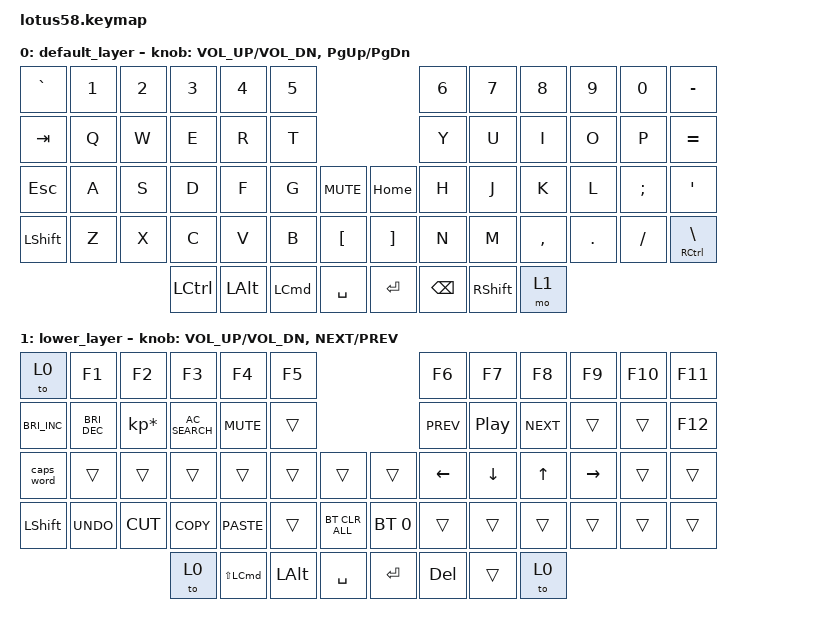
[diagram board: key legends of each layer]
/*
 * Copyright (c) 2022 The ZMK Contributors
 *
 * SPDX-License-Identifier: MIT
 */

#include <behaviors.dtsi>
#include <dt-bindings/zmk/bt.h>
#include <dt-bindings/zmk/keys.h>

/ {
    combos {
        compatible = "zmk,combos";

        combo_dsklg {
            timeout-ms = <100>;
            key-positions = <24 52>;
            layers = <1>;
            bindings = <&kp LGUI>;
        };
    };

    behaviors {
        fofunc: four_ffour {
            compatible = "zmk,behavior-mod-morph";
            #binding-cells = <0>;
            bindings = <&kp N4>, <&kp F4>;

            mods = <(MOD_LALT|MOD_RALT)>;
        };

        sleft: s_left {
            compatible = "zmk,behavior-mod-morph";
            #binding-cells = <0>;
            bindings = <&kp S>, <&kp LEFT>;

            mods = <(MOD_LGUI|MOD_RGUI)>;
        };

        fright: f_right {
            compatible = "zmk,behavior-mod-morph";
            #binding-cells = <0>;
            bindings = <&kp F>, <&kp RIGHT>;

            mods = <(MOD_LGUI|MOD_RGUI)>;
        }; 
    };

    keymap {
        compatible = "zmk,keymap";

        default_layer {
            //   ------------------------------------------------------------------------------------------------------------
            //  0|  ESC  |  1  |  2  |  3   |  4   |  5   |                     |  6   |  7    |  8    |  9   |   0   |   =   | 11
            // 12|  TAB  |  Q  |  W  |  E   |  R   |  T   |                     |  Y   |  U    |  I    |  O   |   P   |   [   | 23
            // 24|  SFT  |  A  |  S  |  D   |  F   |  G   |  RESET  |  | RESET  |  H   |  J    |  K    |  L   |   ;   | ' SFT | 37
            // 38|  CTRL |  Z  |  X  |  C   |  V   |  B   |  MUTE   |  | PLAY   |  N   |  M    |  ,    |  .   |   /   | \ CTRL| 51
            // 52                    |ENT RS|  ALT | SPACE|DELETE LW|  |ENTER RS| BSPC |  ] LW | RGUI  |                        59

            bindings = <
&kp GRAVE       &kp N1  &kp N2  &kp N3            &kp NUMBER_4  &kp N5                                                 &kp N6         &kp N7           &kp N8     &kp N9   &kp N0    &kp MINUS
&kp TAB         &kp Q   &kp W   &kp E             &kp R         &kp T                                                  &kp Y          &kp U            &kp I      &kp O    &kp P     &kp EQUAL
&kp ESCAPE      &kp A   &kp S   &kp D             &kp F         &kp G             &kp C_MUTE        &kp HOME           &kp H          &kp J            &kp K      &kp L    &kp SEMI  &kp SQT
&kp LEFT_SHIFT  &kp Z   &kp X   &kp C             &kp V         &kp B             &kp LEFT_BRACKET  &kp RIGHT_BRACKET  &kp N          &kp M            &kp COMMA  &kp DOT  &kp FSLH  &mt RCTRL BSLH
                                &kp LEFT_CONTROL  &kp LEFT_ALT  &kp LEFT_COMMAND  &kp SPACE         &kp ENTER          &kp BACKSPACE  &kp RIGHT_SHIFT  &mo 1
            >;

            sensor-bindings =
                <&inc_dec_kp C_VOL_UP C_VOL_DN>,
                <&inc_dec_kp PG_UP PG_DN>;
        };

        lower_layer {
            // ------------------------------------------------------------------------------------------------------------
            // | `     |  F1 |  F2 |  F3  |  F4  |  F5  |                   |  F6  |  F7   |  F8   |  F9  |  F10  |  F11  |
            // |       |  !  | HOME|   ^  |  END |  %   |                   | VOL^ |  PGUP |  INS  |  ^   |  PSCR |   -   |
            // |       |  #  |  <- |   v  | ->   |  $   |        |  |       | VOLv |    <- |   ^   |  ->  |   ~   |   _   |
            // |       |  @  |  -  |  (   |  )   |  &   |        |  |       | MUTE |  PGDN |   v   |  :   |   *   |   |   |
            //                     |  F11 |      |      |        |  |       |      |       |  F12  |

            bindings = <
&to 0                 &kp F1                &kp F2           &kp F3           &kp F4        &kp F5                                      &kp F6          &kp F7            &kp F8      &kp F9     &kp F10  &kp F11
&kp C_BRIGHTNESS_INC  &kp C_BRIGHTNESS_DEC  &kp KP_MULTIPLY  &kp C_AC_SEARCH  &kp C_MUTE    &trans                                      &kp C_PREV      &kp C_PLAY_PAUSE  &kp C_NEXT  &trans     &trans   &kp F12
&caps_word            &trans                &trans           &trans           &trans        &trans        &trans          &trans        &kp LEFT_ARROW  &kp DOWN_ARROW    &kp UP      &kp RIGHT  &trans   &trans
&kp LEFT_SHIFT        &kp K_UNDO            &kp K_CUT        &kp K_COPY       &kp K_PASTE   &trans        &bt BT_CLR_ALL  &bt BT_SEL 0  &trans          &trans            &trans      &trans     &trans   &trans
                                                             &to 0            &kp LS(LCMD)  &kp LEFT_ALT  &kp SPACE       &kp ENTER     &kp DELETE      &trans            &to 0
            >;

            sensor-bindings =
                <&inc_dec_kp C_VOL_UP C_VOL_DN>,
                <&inc_dec_kp C_NEXT C_PREV>;
        };
    };
};
